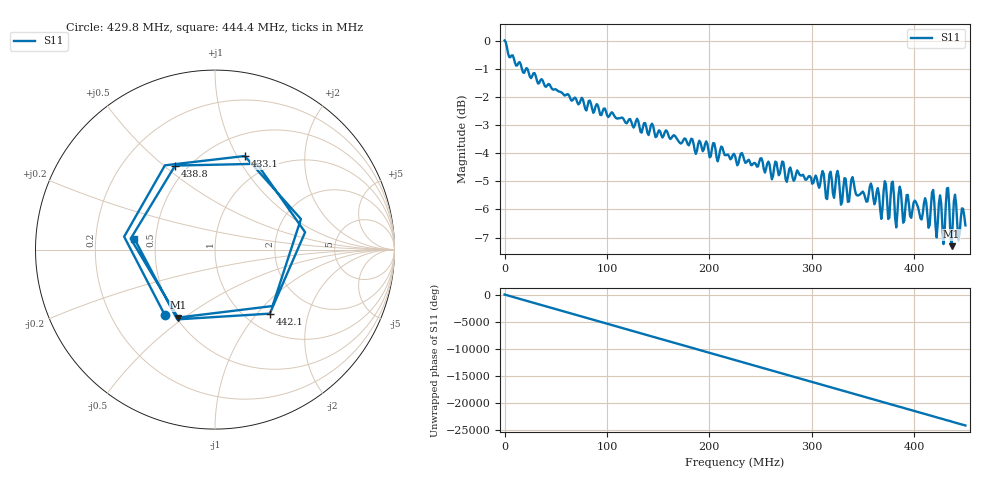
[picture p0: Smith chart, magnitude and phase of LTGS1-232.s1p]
! NanoVNA-App
! Date: 2026-09-29 13:50:33
! Start: 50kHz Stop: 450MHz Points: 401
! S-Parameter data: F S11
# Hz S RI R 50
!  Frequency  S11_Real  S11_Imag
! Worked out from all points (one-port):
!   401 points, 50 kHz to 450 MHz, reference 50 ohm
!   lowest |S11| = -7.3 dB at 436.5 MHz (marker M1), VSWR 2.52, Z = 25.5 - j23.7 ohm
!   |S11| at or under -10 dB: nowhere
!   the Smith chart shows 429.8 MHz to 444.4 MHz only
!   S11 on the Smith chart (normalised r, x): 429.8 MHz: 0.45, -0.41; 433.1 MHz: 0.72, +1.08; 438.8 MHz: 0.43, +0.55; 442.1 MHz: 1.28, -1.17; 444.4 MHz: 0.38, +0.06
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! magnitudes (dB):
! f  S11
! 50 kHz  0.0
! 18.05 MHz  -1.1
! 56.29 MHz  -1.9
! 112.5 MHz  -2.8
! 168.8 MHz  -3.5
! 225 MHz  -4.1
! 281.3 MHz  -4.9
! 337.5 MHz  -5.3
! 357.8 MHz  -5.1
! 367.9 MHz  -6.3
! 371.3 MHz  -5.0
! 374.6 MHz  -6.3
! 379.1 MHz  -5.0
! 382.5 MHz  -6.6
! 385.9 MHz  -5.2
! 390.4 MHz  -6.4
! 393.8 MHz  -5.5
! 414 MHz  -6.7
! 418.5 MHz  -5.3
! 421.9 MHz  -7.0
! 425.3 MHz  -5.5
! 429.8 MHz  -6.8
! 433.1 MHz  -5.2
! 436.5 MHz  -7.3
! 438.8 MHz  -5.7
! 442.1 MHz  -6.6
! 444.4 MHz  -6.9
! 450 MHz  -6.6
